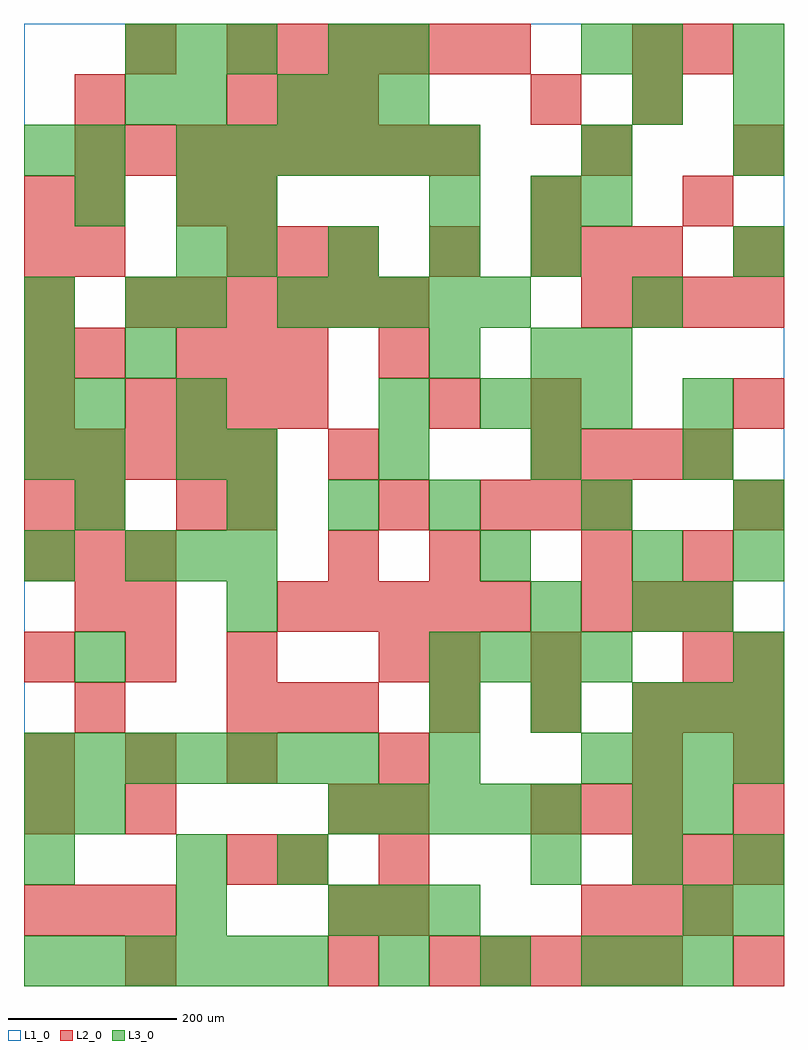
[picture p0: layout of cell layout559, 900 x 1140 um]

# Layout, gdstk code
import gdstk
lib = gdstk.Library(unit=1e-6, precision=1e-09)
def R(c, l, rs):  # rectangles x0, y0, x1, y1
    for r in rs: c.add(gdstk.rectangle(r[:2], r[2:], *l))
def A(c, l, x, y, w, h, nx, ny, dx, dy):  # array of equal rectangles
    R(c, l, [(x+i*dx, y+j*dy, x+i*dx+w, y+j*dy+h) for i in range(nx) for j in range(ny)])
L1_0 = (1, 0)
L2_0 = (2, 0)
L3_0 = (3, 0)

layout559 = lib.new_cell('layout559')
R(layout559, L1_0, [(0,0,900,1140)])
A(layout559, L2_0, 480, 0, 60, 60, 5, 1, 60, 0)
A(layout559, L2_0, 0, 60, 60, 60, 3, 2, 60, 420)
A(layout559, L2_0, 420, 60, 60, 60, 1, 4, 0, 60)
A(layout559, L2_0, 660, 60, 60, 60, 3, 2, 60, 360)
A(layout559, L2_0, 720, 120, 60, 60, 3, 1, 60, 0)
A(layout559, L2_0, 600, 180, 60, 60, 3, 2, 60, 660)
A(layout559, L2_0, 840, 180, 60, 60, 1, 4, 0, 60)
A(layout559, L2_0, 0, 240, 60, 60, 3, 2, 120, 120)
A(layout559, L2_0, 60, 300, 60, 60, 1, 3, 0, 120)
A(layout559, L2_0, 240, 300, 60, 60, 3, 2, 60, 540)
A(layout559, L2_0, 480, 300, 60, 60, 3, 1, 120, 0)
A(layout559, L2_0, 420, 360, 60, 60, 1, 3, 0, 180)
A(layout559, L2_0, 300, 420, 60, 60, 5, 1, 60, 0)
A(layout559, L2_0, 480, 480, 60, 60, 1, 3, 0, 180)
A(layout559, L2_0, 540, 540, 60, 60, 3, 1, 60, 0)
A(layout559, L2_0, 0, 600, 60, 60, 5, 1, 60, 0)
A(layout559, L2_0, 600, 600, 60, 60, 4, 1, 60, 0)
A(layout559, L2_0, 0, 660, 60, 60, 1, 5, 0, 60)
A(layout559, L2_0, 120, 660, 60, 60, 4, 1, 60, 0)
A(layout559, L2_0, 180, 720, 60, 60, 3, 1, 60, 0)
A(layout559, L2_0, 120, 780, 60, 60, 6, 1, 60, 0)
A(layout559, L2_0, 660, 780, 60, 60, 4, 1, 60, 0)
A(layout559, L2_0, 60, 960, 60, 60, 8, 1, 60, 0)
A(layout559, L2_0, 240, 1020, 60, 60, 3, 1, 60, 0)
A(layout559, L2_0, 240, 1080, 60, 60, 6, 1, 60, 0)
R(layout559, L2_0, [(120,0,180,60), (360,0,420,60), (840,0,900,60), (360,60,420,120), (240,120,300,180), (300,120,360,180), (0,180,60,240), (120,180,180,240), (360,180,420,240), (720,240,780,300), (780,300,840,360), (480,360,540,420), (600,360,660,420), (780,360,840,420), (120,420,180,480), (360,480,420,540), (660,480,720,540), (780,480,840,540), (0,540,60,600), (180,540,240,600), (240,540,300,600), (840,540,900,600), (360,600,420,660), (600,660,660,720), (840,660,900,720), (60,720,120,780), (60,840,120,900), (840,840,900,900), (60,900,120,960), (180,900,240,960), (240,900,300,960), (600,900,660,960), (780,900,840,960), (660,960,720,1020), (840,960,900,1020), (60,1020,120,1080), (600,1020,660,1080), (720,1020,780,1080), (120,1080,180,1140), (720,1080,780,1140), (780,1080,840,1140)])
A(layout559, L3_0, 0, 0, 60, 60, 6, 1, 60, 0)
A(layout559, L3_0, 420, 0, 60, 60, 3, 1, 120, 0)
A(layout559, L3_0, 360, 60, 60, 60, 3, 1, 60, 0)
A(layout559, L3_0, 780, 60, 60, 60, 1, 4, 0, 120)
A(layout559, L3_0, 600, 120, 60, 60, 3, 1, 120, 0)
A(layout559, L3_0, 60, 180, 60, 60, 1, 3, 0, 180)
A(layout559, L3_0, 360, 180, 60, 60, 5, 1, 60, 0)
A(layout559, L3_0, 0, 240, 60, 60, 7, 1, 60, 0)
A(layout559, L3_0, 660, 240, 60, 60, 4, 1, 60, 0)
A(layout559, L3_0, 480, 300, 60, 60, 3, 1, 120, 0)
A(layout559, L3_0, 480, 360, 60, 60, 4, 1, 60, 0)
A(layout559, L3_0, 120, 480, 60, 60, 3, 2, 60, 600)
A(layout559, L3_0, 240, 540, 60, 60, 3, 1, 120, 0)
A(layout559, L3_0, 660, 540, 60, 60, 1, 3, 0, 180)
A(layout559, L3_0, 0, 600, 60, 60, 1, 4, 0, 60)
A(layout559, L3_0, 240, 600, 60, 60, 4, 1, 180, 0)
A(layout559, L3_0, 540, 660, 60, 60, 3, 1, 60, 0)
A(layout559, L3_0, 180, 780, 60, 60, 1, 3, 0, 60)
A(layout559, L3_0, 300, 780, 60, 60, 5, 1, 60, 0)
A(layout559, L3_0, 240, 840, 60, 60, 4, 1, 120, 0)
A(layout559, L3_0, 180, 960, 60, 60, 6, 1, 60, 0)
A(layout559, L3_0, 840, 960, 60, 60, 1, 3, 0, 60)
A(layout559, L3_0, 300, 1020, 60, 60, 3, 1, 60, 0)
R(layout559, L3_0, [(720,0,780,60), (780,0,840,60), (180,60,240,120), (840,60,900,120), (0,120,60,180), (180,120,240,180), (300,120,360,180), (0,180,60,240), (720,180,780,240), (480,240,540,300), (840,300,900,360), (840,360,900,420), (240,420,300,480), (600,420,660,480), (720,420,780,480), (0,480,60,540), (540,480,600,540), (720,480,780,540), (840,480,900,540), (840,540,900,600), (60,600,120,660), (180,600,240,660), (60,660,120,720), (180,660,240,720), (420,660,480,720), (780,660,840,720), (120,720,180,780), (480,720,540,780), (600,720,660,780), (120,780,180,840), (720,780,780,840), (840,840,900,900), (60,900,120,960), (240,900,300,960), (480,900,540,960), (600,900,660,960), (0,960,60,1020), (60,960,120,1020), (660,960,720,1020), (120,1020,180,1080), (180,1020,240,1080), (720,1020,780,1080), (360,1080,420,1140), (420,1080,480,1140), (660,1080,720,1140), (720,1080,780,1140)])

lib.write_gds('layout559.gds')
